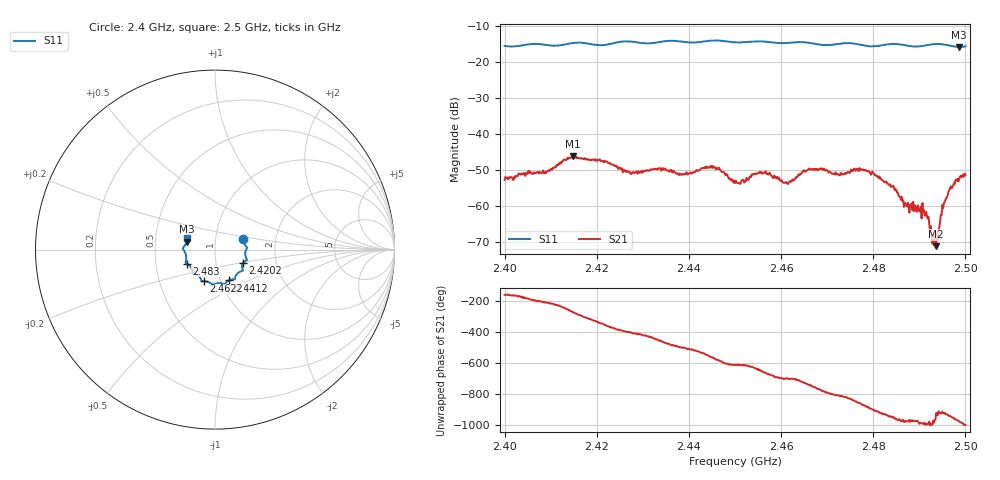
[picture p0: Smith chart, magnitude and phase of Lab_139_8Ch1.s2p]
# Hz S RI R 50
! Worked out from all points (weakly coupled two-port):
!   601 points, 2.4 GHz to 2.5 GHz, reference 50 ohm
!   highest |S21| = -46.13 dB at 2.4148 GHz (marker M1); lowest = -71.0 dB at 2.4937 GHz (marker M2)
!   lowest |S11| = -15.8 dB at 2.4987 GHz (marker M3), VSWR 1.39, Z = 36.3 + j3.3 ohm
!   |S11| at or under -10 dB: start of sweep to end of sweep
!   S12 and S22 are empty: the file has one direction only
!   S11 on the Smith chart (normalised r, x): 2.4 GHz: 1.36, +0.17; 2.4202 GHz: 1.35, -0.20; 2.4412 GHz: 1.09, -0.39; 2.4622 GHz: 0.83, -0.30; 2.483 GHz: 0.72, -0.12; 2.5 GHz: 0.73, +0.09
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2.4e9  0.1573 0.0603  -0.00222 -0.000735  0 0  0 0
2.414833e9  0.1768 -0.0538  0.000227 0.00493  0 0  0 0
2.416667e9  0.1772 -0.0588  0.00216 0.00414  0 0  0 0
2.420167e9  0.1568 -0.0725  0.00389 0.00182  0 0  0 0
2.427667e9  0.1528 -0.1178  0.00194 -0.00218  0 0  0 0
2.433333e9  0.1132 -0.1518  -0.000138 -0.00338  0 0  0 0
2.441167e9  0.076 -0.172  -0.00281 -0.000937  0 0  0 0
2.445167e9  0.0533 -0.1929  -0.00307 0.00146  0 0  0 0
2.45e9  0.0268 -0.1871  -0.00056 0.00204  0 0  0 0
2.456167e9  -0.0152 -0.1934  0.00145 0.00249  0 0  0 0
2.462167e9  -0.0624 -0.1768  0.00211 0.000611  0 0  0 0
2.466667e9  -0.0774 -0.1665  0.00277 -0.00166  0 0  0 0
2.4775e9  -0.1263 -0.1184  -0.00278 -0.00169  0 0  0 0
2.483e9  -0.1586 -0.078  -0.00162 0.00132  0 0  0 0
2.483333e9  -0.1601 -0.0772  -0.00139 0.00144  0 0  0 0
2.486833e9  -0.1616 -0.0602  -0.000142 0.00112  0 0  0 0
2.491167e9  -0.1699 -0.0101  -4.33e-05 0.000763  0 0  0 0
2.493167e9  -0.1784 0.00362  -1.81e-05 0.000289  0 0  0 0
2.493667e9  -0.1791 0.00598  -0.000256 0.000116  0 0  0 0
2.4955e9  -0.175 0.0141  -0.00106 0.000472  0 0  0 0
2.498667e9  -0.1568 0.0442  -0.000465 0.00239  0 0  0 0
2.5e9  -0.1537 0.0621  0.00059 0.00266  0 0  0 0
